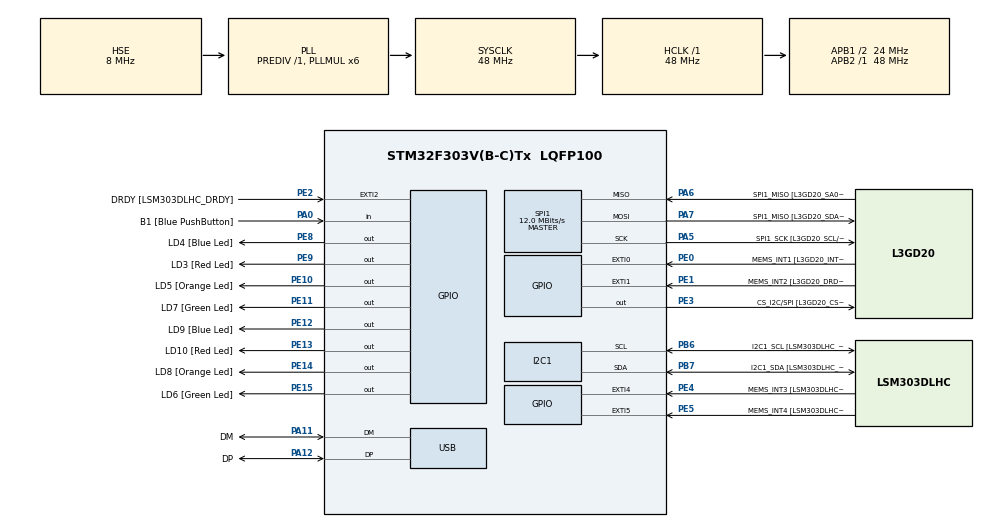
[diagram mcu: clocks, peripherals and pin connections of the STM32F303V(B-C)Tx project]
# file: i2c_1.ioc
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I2C1.Timing-I2C=0x2000090E
Mcu.Family=STM32F3
Mcu.Name=STM32F303V(B-C)Tx
Mcu.Package=LQFP100
NVIC.PriorityGroup=NVIC_PRIORITYGROUP_0
NVIC.TIM3_IRQn=true\:0\:0\:false\:false\:true\:true\:true
NVIC.USB_LP_CAN_RX0_IRQn=true\:0\:0\:false\:false\:true\:false\:true
PA0.GPIO_Label=B1 [Blue PushButton]
PA0.Signal=GPIO_Input
PA11.GPIO_Label=DM
PA11.Mode=Device
PA11.Signal=USB_DM
PA12.GPIO_Label=DP
PA12.Mode=Device
PA12.Signal=USB_DP
PA13.GPIO_Label=SWDIO
PA13.Mode=Serial_Wire
PA13.Signal=SYS_JTMS-SWDIO
PA14.GPIO_Label=SWCLK
PA14.Mode=Serial_Wire
PA14.Signal=SYS_JTCK-SWCLK
PA5.GPIO_Label=SPI1_SCK [L3GD20_SCL/SPC]
PA5.Mode=Full_Duplex_Master
PA5.Signal=SPI1_SCK
PA6.GPIO_Label=SPI1_MISO [L3GD20_SA0/SDO]
PA6.Mode=Full_Duplex_Master
PA6.Signal=SPI1_MISO
PA7.GPIO_Label=SPI1_MISO [L3GD20_SDA/SDI/SDO]
PA7.Mode=Full_Duplex_Master
PA7.Signal=SPI1_MOSI
PB3.GPIO_Label=SWO
PB3.Signal=SYS_JTDO-TRACESWO
PB6.GPIO_Label=I2C1_SCL [LSM303DLHC_SCL]
PB6.Mode=I2C
PB6.Signal=I2C1_SCL
PB7.GPIO_Label=I2C1_SDA [LSM303DLHC_SDA]
PB7.Mode=I2C
PB7.Signal=I2C1_SDA
PC14-OSC32_IN.GPIO_Label=OSC32_IN
PC14-OSC32_IN.Signal=RCC_OSC32_IN
PC15-OSC32_OUT.GPIO_Label=OSC32_OUT
PC15-OSC32_OUT.Signal=RCC_OSC32_OUT
PE0.GPIO_Label=MEMS_INT1 [L3GD20_INT1]
PE0.GPIO_ModeDefaultEXTI=GPIO_MODE_EVT_RISING
PE0.Signal=GPXTI0
PE1.GPIO_Label=MEMS_INT2 [L3GD20_DRDY/INT2]
PE1.GPIO_ModeDefaultEXTI=GPIO_MODE_EVT_RISING
PE1.Signal=GPXTI1
PE10.GPIO_Label=LD5 [Orange Led]
PE10.Signal=GPIO_Output
PE11.GPIO_Label=LD7 [Green Led]
PE11.Signal=GPIO_Output
PE12.GPIO_Label=LD9 [Blue Led]
PE12.Signal=GPIO_Output
PE13.GPIO_Label=LD10 [Red Led]
PE13.Signal=GPIO_Output
PE14.GPIO_Label=LD8 [Orange Led]
PE14.Signal=GPIO_Output
PE15.GPIO_Label=LD6 [Green Led]
PE15.Signal=GPIO_Output
PE2.GPIO_Label=DRDY [LSM303DLHC_DRDY]
PE2.GPIO_ModeDefaultEXTI=GPIO_MODE_EVT_RISING
PE2.Signal=GPXTI2
PE3.GPIO_Label=CS_I2C/SPI [L3GD20_CS_I2C/SPI]
PE3.Signal=GPIO_Output
PE4.GPIO_Label=MEMS_INT3 [LSM303DLHC_INT1]
PE4.GPIO_ModeDefaultEXTI=GPIO_MODE_EVT_RISING
PE4.Signal=GPXTI4
PE5.GPIO_Label=MEMS_INT4 [LSM303DLHC_INT2]
PE5.GPIO_ModeDefaultEXTI=GPIO_MODE_EVT_RISING
PE5.Signal=GPXTI5
PE8.GPIO_Label=LD4 [Blue Led]
PE8.Signal=GPIO_Output
PE9.GPIO_Label=LD3 [Red Led]
PE9.Signal=GPIO_Output
PF0-OSC_IN.GPIO_Label=OSC_IN
PF0-OSC_IN.Mode=HSE-External-Clock-Source
PF0-OSC_IN.Signal=RCC_OSC_IN
PF1-OSC_OUT.GPIO_Label=OSC_OUT
PF1-OSC_OUT.Signal=RCC_OSC_OUT
ProjectManager.HeapSize=0x200
ProjectManager.StackSize=0x400
ProjectManager.TargetToolchain=STM32CubeIDE
RCC.AHBFreq_Value=48000000
RCC.APB1CLKDivider=RCC_HCLK_DIV2
RCC.APB1Freq_Value=24000000
RCC.APB1TimFreq_Value=48000000
RCC.APB2Freq_Value=48000000
RCC.APB2TimFreq_Value=48000000
RCC.CortexFreq_Value=48000000
RCC.HCLKFreq_Value=48000000
RCC.HSE_VALUE=8000000
RCC.HSI_VALUE=8000000
RCC.LSE_VALUE=32768
RCC.PLLMUL=RCC_PLL_MUL6
RCC.SYSCLKFreq_VALUE=48000000
RCC.SYSCLKSourceVirtual=RCC_SYSCLKSOURCE_PLLCLK
RCC.USBFreq_Value=48000000
SPI1.BaudRatePrescaler=SPI_BAUDRATEPRESCALER_4
SPI1.BaudRatePrescaler-Full_Duplex_Master=SPI_BAUDRATEPRESCALER_2
SPI1.CalculateBaudRate=12.0 MBits/s
SPI1.CalculateBaudRate-Full_Duplex_Master=24.0 MBits/s
SPI1.Direction=SPI_DIRECTION_2LINES
SPI1.Mode=SPI_MODE_MASTER
SPI1.Mode-Full_Duplex_Master=SPI_MODE_MASTER
SPI1.VirtualType=VM_MASTER
TIM3.Period=999
TIM3.Prescaler=47999
USB_DEVICE.CLASS_NAME_FS=CDC
USB_DEVICE.PRODUCT_STRING_CDC_FS=myIMU
USB_DEVICE.VirtualMode=Cdc
USB_DEVICE.VirtualModeFS=Cdc_FS
VP_TIM3_VS_ClockSourceINT.Mode=Internal
VP_USB_DEVICE_VS_USB_DEVICE_CDC_FS.Mode=CDC_FS
board=STM32F3DISCOVERY

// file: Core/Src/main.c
/* USER CODE BEGIN Header */
/**
  ******************************************************************************
  * @file           : main.c
  * @brief          : Main program body
  ******************************************************************************
  * @attention
  *
  * <h2><center>&copy; Copyright (c) 2020 STMicroelectronics.
  * All rights reserved.</center></h2>
  *
  * This software component is licensed by ST under BSD 3-Clause license,
  * the "License"; You may not use this file except in compliance with the
  * License. You may obtain a copy of the License at:
  *                        opensource.org/licenses/BSD-3-Clause
  *
  ******************************************************************************
  */
/* USER CODE END Header */
#include "main.h"
#include "usb_device.h"

/* USER CODE BEGIN Includes */

#include "usbd_cdc_if.h"

/* USER CODE END Includes */

I2C_HandleTypeDef hi2c1;

SPI_HandleTypeDef hspi1;

TIM_HandleTypeDef htim3;

void SystemClock_Config(void);
static void MX_GPIO_Init(void);
static void MX_I2C1_Init(void);
static void MX_SPI1_Init(void);
static void MX_TIM3_Init(void);
/* USER CODE BEGIN PFP */
void HAL_TIM_PeriodElapsedCallback(TIM_HandleTypeDef *htim);
uint8_t i2c1_pisiRegister(uint8_t, uint8_t, uint8_t);
void i2c1_beriRegistre(uint8_t, uint8_t, uint8_t*, uint8_t);
void initLSM303DLHC(void);

/* USER CODE END PFP */

/* USER CODE BEGIN 0 */
char resBuff[4] = {"ABAA"};
int8_t dir = -1;

void HAL_TIM_PeriodElapsedCallback(TIM_HandleTypeDef *htim) {

  // preveri ali je prekinitev klicana iz casovnika 3
  if (htim->Instance == TIM3) {
	  if (dir > -1) {
		  mapDirectionToChar();
		  CDC_Transmit_FS(resBuff, 4);
	  }
  }

}
/*** Using magnetometer calibration algorithm ***/

uint8_t i2c1_pisiRegister(uint8_t naprava, uint8_t reg, uint8_t podatek)
{
  naprava <<= 1;
  return HAL_I2C_Mem_Write(&hi2c1, naprava, reg, I2C_MEMADD_SIZE_8BIT, &podatek, 1, 10);
}

void i2c1_beriRegistre(uint8_t naprava, uint8_t reg, uint8_t* podatek, uint8_t dolzina)
{
  if ((dolzina>1)&&(naprava==0x19))  // ce je naprava 0x19 moramo postaviti ta bit, ce zelimo brati vec zlogov
    reg |= 0x80;
  naprava <<= 1;
  HAL_I2C_Mem_Read(&hi2c1, naprava, reg, I2C_MEMADD_SIZE_8BIT, podatek, dolzina, dolzina);
}

void initLSM303DLHC()
{
  HAL_Delay(10);

  // Za potrebe testa, moramo testni napravi sporociti kateri senzor imamo
  #define OLD_SENSOR 0x73 // Odkomentiramo za LSM303DLHC / stari senzor
  //#define NEW_SENSOR 0x6E // Odkomentiramo za LSM303AGR / novi senzor

  #if defined(OLD_SENSOR) && !defined(NEW_SENSOR)
  i2c1_pisiRegister(0x1e, 0x4F, OLD_SENSOR); // Povemo testni napravi, da imamo stari senzor
  #elif !defined(OLD_SENSOR) && defined(NEW_SENSOR)
  i2c1_pisiRegister(0x1e, 0x4F, NEW_SENSOR); // Povemo testni napravi, da imamo novi senzor
  #else
  for(;;); // V primeru napake, pocakamo tukaj
  #endif
  HAL_Delay(100);

  // inicializiraj mag
  i2c1_pisiRegister(0x1E, 0x00, 0xC);  // 7.5hz
  i2c1_pisiRegister(0x1E, 0x01, 0x20);  // privzeto
  i2c1_pisiRegister(0x1E, 0x02, 0x00);

// inicializiraj pospeskometer
i2c1_pisiRegister(0x19, 0x20, 0x47);  // zbudi pospeskometer in omogoci osi IN nastavite odzivnost senzorja na 50Hz  Normal / low-power mode (50 Hz) 0 1 0 0
i2c1_pisiRegister(0x19, 0x23, 0x98);  // nastavi posodobitev samo ko se prebere vrednost ter visoko locljivost IN na +-4g (f1 f0 na 0 1)
}

void TurnOffPrevious(int PIN){
	switch (PIN)
	{
		case 8:
			HAL_GPIO_WritePin(GPIOE, GPIO_PIN_8, GPIO_PIN_RESET);
		case 9:
			HAL_GPIO_WritePin(GPIOE, GPIO_PIN_9, GPIO_PIN_RESET);
		case 10:
			HAL_GPIO_WritePin(GPIOE, GPIO_PIN_10, GPIO_PIN_RESET);
		case 11:
			HAL_GPIO_WritePin(GPIOE, GPIO_PIN_11, GPIO_PIN_RESET);
		case 12:
			HAL_GPIO_WritePin(GPIOE, GPIO_PIN_12, GPIO_PIN_RESET);
		case 13:
			HAL_GPIO_WritePin(GPIOE, GPIO_PIN_13, GPIO_PIN_RESET);
		case 14:
			HAL_GPIO_WritePin(GPIOE, GPIO_PIN_14, GPIO_PIN_RESET);
		case 15:
			HAL_GPIO_WritePin(GPIOE, GPIO_PIN_15, GPIO_PIN_RESET);
	}
}

void setResBuf(char one, char two) {
	resBuff[2] = one;
	resBuff[3] = two;
}

void mapDirectionToChar() {
	switch (dir) {
	case 0:
		setResBuf('0','S');
		break;
	case 1:
		setResBuf('S','V');
		break;
	case 2:
		setResBuf('0','V');
		break;
	case 3:
		setResBuf('J','V');
		break;
	case 4:
		setResBuf('0','J');
		break;
	case 5:
		setResBuf('J','Z');
		break;
	case 6:
		setResBuf('0','Z');
		break;
	case 7:
		setResBuf('S','Z');
		break;
	}
}

/* USER CODE END 0 */

int main(void)
{

  /* MCU Configuration--------------------------------------------------------*/

  /* Reset of all peripherals, Initializes the Flash interface and the Systick. */
  HAL_Init();

  /* Configure the system clock */
  SystemClock_Config();

  /* Initialize all configured peripherals */
  MX_GPIO_Init();
  MX_I2C1_Init();
  MX_SPI1_Init();
  MX_USB_DEVICE_Init();
  MX_TIM3_Init();
  /* USER CODE BEGIN 2 */

  __HAL_I2C_ENABLE(&hi2c1);

  int16_t meritev[5];
  meritev[0] = 0xaaab;// glava za zaznamek zacetek paketa
  int16_t buffer[3] = {0,0,0};

  initLSM303DLHC();

  char toReturn[250] = {0};
  int toggleCount = 0;
  int16_t packetCount = 0; // stevec klikov
  _Bool isToggled = 0;

  int prevLight = 0;

  int8_t btnCtrl = 0;
  int8_t debug = 0;
  HAL_TIM_Base_Start_IT(&htim3);

  int8_t xa [2] = {}, ya [2] = {}, za [2] = {};
  char packetNoBuffer[20] = {};
  char jsonBuffer [200] = {};
  char floatBuffer [20] = {};

  double value = 8000 / (pow(2,16) - 1);

  /* USER CODE END 2 */

  /* Infinite loop */
  /* USER CODE BEGIN WHILE */
  while (1)
  {

	  // Debug opcija ON/OFF
	  // ON (0): send 4B float
	  // OFF(1): send JSON string

	  if (HAL_GPIO_ReadPin(GPIOA, GPIO_PIN_0) && debug == 0) {
		  debug = 1;
	  }
	  else if (!HAL_GPIO_ReadPin(GPIOA, GPIO_PIN_0) && debug == 1) {
		  debug = 0;
	  }

	  HAL_Delay(100);

	  meritev[1] = packetCount;
	  // Convert to ASCII
	  // Beri l in h registre

	  uint8_t x1, x2, y1,y2, z1,z2;

	  // BERI MAGNETOMETER
	  // Preberi x y z vrednosti po 8 bitov , high low
	  // X
	  i2c1_beriRegistre(0x1E,  0x03,(uint8_t*)&x1, 1);
	  i2c1_beriRegistre(0x1E,  0x04,(uint8_t*)&x2, 1);
	  // Z
	  i2c1_beriRegistre(0x1E,  0x05,(uint8_t*)&z1, 1);
	  i2c1_beriRegistre(0x1E,  0x06,(uint8_t*)&z2, 1);
	  // Y
	  i2c1_beriRegistre(0x1E,  0x07,(uint8_t*)&y1, 1);
	  i2c1_beriRegistre(0x1E,  0x08,(uint8_t*)&y2, 1);

	  // BERI POSPEŠKOMETER
	  i2c1_beriRegistre(0x19, 0x28, (uint8_t*) &xa[0], 4);
	  i2c1_beriRegistre(0x19, 0x29, (uint8_t*) &xa[1], 8);
		buffer[0] = *((int16_t*) xa);

		i2c1_beriRegistre(0x19, 0x2a, (uint8_t*) &ya[0], 4);
		i2c1_beriRegistre(0x19, 0x2b, (uint8_t*) &ya[1], 8);
		buffer[1] = *((int16_t*) ya);

		i2c1_beriRegistre(0x19, 0x2c, (uint8_t*) &za[0], 4);
		i2c1_beriRegistre(0x19, 0x2d, (uint8_t*) &za[1], 8);
		buffer[2] = *((int16_t*) za);

		float ro = asin((buffer[0] * value) / 1000 * -1);   // enacba 10
		float gama = asin(((buffer[1] * value) / 1000)/cos(ro));

	  uint16_t x,y,z;
	  // sestavi 16bitni int

	  meritev[2] = ((x1 << 8) | (x2 & 0xff));
	  meritev[3] = ((y1 << 8) | (y2 & 0xff));
	  meritev[4] = ((z1 << 8) | (z2 & 0xff));

	  float xv, yv, zv;

	  xv = (float)meritev[2] / 1100.0f;
	  yv = (float)meritev[3] / 1100.0f;
	  zv = (float)meritev[4] / 980.0f;

	  xv=(xv+0.076575923160515f)/0.425442085836195f;
	  yv=(yv+0.0278623169268702f)/0.45627238404055f;
	  zv=(zv+0.00343904513673798f)/0.447764326965475f;

	  // GENERATE BEARING
	  float Pi = 3.14159;

	  // Calculate the angle of the vector y,x -> also GAUS to microteslas

	  float mX2 = xv*cos(ro)+zv*sin(ro);
	  float mY2 = xv*sin(gama)*sin(ro)+yv*cos(gama)-zv*sin(gama)*cos(ro);

	  /*
	  float ro = asin(xv * -1);
	  float gama = asin(yv/cos(ro));

	  xv = kX*cos(ro)+kZ*sin(ro);
	  mY2=kX*sin(gama)*sin(ro)+kY*cos(gama)-kZ*sin(gama)*cos(ro);
		*/
	  float heading = (atan2((mY2/100.0f), (mX2/100.0f)) * 180) / Pi;

	  // Normalize to 0-360
	  if (heading < 0) {
		heading = 360 + heading;
	  }

	  /*
      i2c1_beriRegistre(0x19, 0x28,(uint16_t*)&meritev[2], 2);
      // Y
      i2c1_beriRegistre(0x19, 0x2A,(uint16_t*)&meritev[3], 2);
      // Z
      i2c1_beriRegistre(0x19, 0x2C,(uint16_t*)&meritev[4], 2);

      // https://ozzmaker.com/accelerometer-to-g/
      float range = 0.122f;
	  // Convert to ASCII

	  float xAcc, yAcc, zAcc;
	  xAcc = (float)(meritev[2] * range) / 1000.0f;
	  xAcc = (float)(meritev[3]* range) / 1000.0f;
	  zAcc = (float)(meritev[4]* range) / 1000.0f;
	*/

	  // S
	  if(heading <= 22.5f || heading >= 337.5f)
      {
		  if(prevLight == 0)
		  {
			  prevLight = 13;
		  }

		  else
		  {
			  TurnOffPrevious(prevLight);
			  HAL_GPIO_WritePin(GPIOE, GPIO_PIN_13, GPIO_PIN_SET);
			  prevLight = 13;
		  }

		  dir = 0;
      }
	  // SV
	  if(heading <= 67.5f && heading >= 22.5f)
      {
		  if(prevLight == 0)
		  {
			  prevLight = 14;
		  }

		  else
		  {
			  TurnOffPrevious(prevLight);
			  HAL_GPIO_WritePin(GPIOE, GPIO_PIN_14, GPIO_PIN_SET);
			  prevLight = 14;
		  }

		  dir = 1;
      }

	  // V
	  if(heading >= 67.5f && heading <= 112.5f)
      {
		  if(prevLight == 0)
		  {
			  prevLight = 15;
		  }

		  else
		  {
			  TurnOffPrevious(prevLight);
			  HAL_GPIO_WritePin(GPIOE, GPIO_PIN_15, GPIO_PIN_SET);
			  prevLight = 15;
		  }

		  dir = 2;
      }

	  // JV
	  if(heading >= 112.5f && heading <= 157.5f)
      {
		  if(prevLight == 0)
		  {
			  prevLight = 8;
		  }

		  else
		  {
			  TurnOffPrevious(prevLight);
			  HAL_GPIO_WritePin(GPIOE, GPIO_PIN_8, GPIO_PIN_SET);
			  prevLight = 8;
		  }

		  dir = 3;
      }

	  // J
	  if(heading >= 157.5f && heading <= 202.5f)
      {
		  if(prevLight == 0)
		  {
			  prevLight = 9;
		  }

		  else
		  {
			  TurnOffPrevious(prevLight);
			  HAL_GPIO_WritePin(GPIOE, GPIO_PIN_9, GPIO_PIN_SET);
			  prevLight = 9;
		  }

		  dir = 4;
      }

	  // JZ
	  if(heading >= 202.5f && heading <= 247.5f)
      {
		  if(prevLight == 0)
		  {
			  prevLight = 10;
		  }

		  else
		  {
			  TurnOffPrevious(prevLight);
			  HAL_GPIO_WritePin(GPIOE, GPIO_PIN_10, GPIO_PIN_SET);
			  prevLight = 10;
		  }

		  dir = 5;
      }

	  // Z
	  if(heading >= 247.5f && heading <= 292.5f)
      {
		  if(prevLight == 0)
		  {
			  prevLight = 11;
		  }

		  else
		  {
			  TurnOffPrevious(prevLight);
			  HAL_GPIO_WritePin(GPIOE, GPIO_PIN_11, GPIO_PIN_SET);
			  prevLight = 11;
		  }

		  dir = 6;
      }

	  // SZ
	  if(heading >= 292.5f && heading <= 337.5f)
      {
		  if(prevLight == 0)
		  {
			  prevLight = 12;
		  }

		  else
		  {
			  TurnOffPrevious(prevLight);
			  HAL_GPIO_WritePin(GPIOE, GPIO_PIN_12, GPIO_PIN_SET);
			  prevLight = 12;
		  }

		  dir = 7;
      }

		packetCount++;

		// DEBUG MODE
		if (debug == 1) {
			/*
			int strlen = snprintf(NULL, 0, "{Compass Heading: %.3f}\n\r", (float) heading) + 1;
			char *stringToSend = malloc(strlen);
			snprintf(stringToSend, strlen, "{Compass Heading: %.3f}\n\r", (float) heading);
			memset(toReturn, 0, sizeof(toReturn));
			CDC_Transmit_FS(stringToSend, strlen);
			*/
			strcat(jsonBuffer, "{\"ACC\":");
			snprintf(packetNoBuffer, sizeof packetCount, "%d", packetCount++);
			strcat(jsonBuffer, packetNoBuffer);
			strcat(jsonBuffer, ", \"X\":");
			snprintf(floatBuffer, sizeof floatBuffer, "%.3f",
					((float) buffer[0] * value) / 1000);
			strcat(jsonBuffer, floatBuffer);
			floatBuffer[0] = '\0';
			strcat(jsonBuffer, ", \"Y\":");
			snprintf(floatBuffer, sizeof floatBuffer, "%.3f",
					((float) buffer[1] * value) / 1000);
			strcat(jsonBuffer, floatBuffer);
			floatBuffer[0] = '\0';
			strcat(jsonBuffer, ", \"Z\":");
			snprintf(floatBuffer, sizeof floatBuffer, "%.3f",
					((float) buffer[2] * value) / 1000);
			strcat(jsonBuffer, floatBuffer);
			strcat(jsonBuffer, "}\n\r");
			CDC_Transmit_FS((uint8_t*) &jsonBuffer, strlen(jsonBuffer));
			packetNoBuffer[0] = '\0';
			jsonBuffer[0] = '\0';
			floatBuffer[0] = '\0';
		}

    /* USER CODE END WHILE */

  }
}

void SystemClock_Config(void)
{
  RCC_OscInitTypeDef RCC_OscInitStruct = {0};
  RCC_ClkInitTypeDef RCC_ClkInitStruct = {0};
  RCC_PeriphCLKInitTypeDef PeriphClkInit = {0};

  /** Initializes the RCC Oscillators according to the specified parameters
  * in the RCC_OscInitTypeDef structure.
  */
  RCC_OscInitStruct.OscillatorType = RCC_OSCILLATORTYPE_HSI|RCC_OSCILLATORTYPE_HSE;
  RCC_OscInitStruct.HSEState = RCC_HSE_BYPASS;
  RCC_OscInitStruct.HSEPredivValue = RCC_HSE_PREDIV_DIV1;
  RCC_OscInitStruct.HSIState = RCC_HSI_ON;
  RCC_OscInitStruct.HSICalibrationValue = RCC_HSICALIBRATION_DEFAULT;
  RCC_OscInitStruct.PLL.PLLState = RCC_PLL_ON;
  RCC_OscInitStruct.PLL.PLLSource = RCC_PLLSOURCE_HSE;
  RCC_OscInitStruct.PLL.PLLMUL = RCC_PLL_MUL6;
  if (HAL_RCC_OscConfig(&RCC_OscInitStruct) != HAL_OK)
  {
    Error_Handler();
  }
  /** Initializes the CPU, AHB and APB buses clocks
  */
  RCC_ClkInitStruct.ClockType = RCC_CLOCKTYPE_HCLK|RCC_CLOCKTYPE_SYSCLK
                              |RCC_CLOCKTYPE_PCLK1|RCC_CLOCKTYPE_PCLK2;
  RCC_ClkInitStruct.SYSCLKSource = RCC_SYSCLKSOURCE_PLLCLK;
  RCC_ClkInitStruct.AHBCLKDivider = RCC_SYSCLK_DIV1;
  RCC_ClkInitStruct.APB1CLKDivider = RCC_HCLK_DIV2;
  RCC_ClkInitStruct.APB2CLKDivider = RCC_HCLK_DIV1;

  if (HAL_RCC_ClockConfig(&RCC_ClkInitStruct, FLASH_LATENCY_1) != HAL_OK)
  {
    Error_Handler();
  }
  PeriphClkInit.PeriphClockSelection = RCC_PERIPHCLK_USB|RCC_PERIPHCLK_I2C1;
  PeriphClkInit.I2c1ClockSelection = RCC_I2C1CLKSOURCE_HSI;
  PeriphClkInit.USBClockSelection = RCC_USBCLKSOURCE_PLL;
  if (HAL_RCCEx_PeriphCLKConfig(&PeriphClkInit) != HAL_OK)
  {
    Error_Handler();
  }
}

static void MX_I2C1_Init(void)
{

  hi2c1.Instance = I2C1;
  hi2c1.Init.Timing = 0x2000090E;
  hi2c1.Init.OwnAddress1 = 0;
  hi2c1.Init.AddressingMode = I2C_ADDRESSINGMODE_7BIT;
  hi2c1.Init.DualAddressMode = I2C_DUALADDRESS_DISABLE;
  hi2c1.Init.OwnAddress2 = 0;
  hi2c1.Init.OwnAddress2Masks = I2C_OA2_NOMASK;
  hi2c1.Init.GeneralCallMode = I2C_GENERALCALL_DISABLE;
  hi2c1.Init.NoStretchMode = I2C_NOSTRETCH_DISABLE;
  if (HAL_I2C_Init(&hi2c1) != HAL_OK)
  {
    Error_Handler();
  }
  /** Configure Analogue filter
  */
  if (HAL_I2CEx_ConfigAnalogFilter(&hi2c1, I2C_ANALOGFILTER_ENABLE) != HAL_OK)
  {
    Error_Handler();
  }
  /** Configure Digital filter
  */
  if (HAL_I2CEx_ConfigDigitalFilter(&hi2c1, 0) != HAL_OK)
  {
    Error_Handler();
  }

}

static void MX_SPI1_Init(void)
{

  /* SPI1 parameter configuration*/
  hspi1.Instance = SPI1;
  hspi1.Init.Mode = SPI_MODE_MASTER;
  hspi1.Init.Direction = SPI_DIRECTION_2LINES;
  hspi1.Init.DataSize = SPI_DATASIZE_4BIT;
  hspi1.Init.CLKPolarity = SPI_POLARITY_LOW;
  hspi1.Init.CLKPhase = SPI_PHASE_1EDGE;
  hspi1.Init.NSS = SPI_NSS_SOFT;
  hspi1.Init.BaudRatePrescaler = SPI_BAUDRATEPRESCALER_4;
  hspi1.Init.FirstBit = SPI_FIRSTBIT_MSB;
  hspi1.Init.TIMode = SPI_TIMODE_DISABLE;
  hspi1.Init.CRCCalculation = SPI_CRCCALCULATION_DISABLE;
  hspi1.Init.CRCPolynomial = 7;
  hspi1.Init.CRCLength = SPI_CRC_LENGTH_DATASIZE;
  hspi1.Init.NSSPMode = SPI_NSS_PULSE_ENABLE;
  if (HAL_SPI_Init(&hspi1) != HAL_OK)
  {
    Error_Handler();
  }

}

static void MX_TIM3_Init(void)
{

  TIM_ClockConfigTypeDef sClockSourceConfig = {0};
  TIM_MasterConfigTypeDef sMasterConfig = {0};

  htim3.Instance = TIM3;
  htim3.Init.Prescaler = 47999;
  htim3.Init.CounterMode = TIM_COUNTERMODE_UP;
  htim3.Init.Period = 999;
  htim3.Init.ClockDivision = TIM_CLOCKDIVISION_DIV1;
  htim3.Init.AutoReloadPreload = TIM_AUTORELOAD_PRELOAD_DISABLE;
  if (HAL_TIM_Base_Init(&htim3) != HAL_OK)
  {
    Error_Handler();
  }
  sClockSourceConfig.ClockSource = TIM_CLOCKSOURCE_INTERNAL;
  if (HAL_TIM_ConfigClockSource(&htim3, &sClockSourceConfig) != HAL_OK)
  {
    Error_Handler();
  }
  sMasterConfig.MasterOutputTrigger = TIM_TRGO_RESET;
  sMasterConfig.MasterSlaveMode = TIM_MASTERSLAVEMODE_DISABLE;
  if (HAL_TIMEx_MasterConfigSynchronization(&htim3, &sMasterConfig) != HAL_OK)
  {
    Error_Handler();
  }

}

static void MX_GPIO_Init(void)
{
  GPIO_InitTypeDef GPIO_InitStruct = {0};

  /* GPIO Ports Clock Enable */
  __HAL_RCC_GPIOE_CLK_ENABLE();
  __HAL_RCC_GPIOC_CLK_ENABLE();
  __HAL_RCC_GPIOF_CLK_ENABLE();
  __HAL_RCC_GPIOA_CLK_ENABLE();
  __HAL_RCC_GPIOB_CLK_ENABLE();

  /*Configure GPIO pin Output Level */
  HAL_GPIO_WritePin(GPIOE, CS_I2C_SPI_Pin|LD4_Pin|LD3_Pin|LD5_Pin
                          |LD7_Pin|LD9_Pin|LD10_Pin|LD8_Pin
                          |LD6_Pin, GPIO_PIN_RESET);

  /*Configure GPIO pins : DRDY_Pin MEMS_INT3_Pin MEMS_INT4_Pin MEMS_INT1_Pin
                           MEMS_INT2_Pin */
  GPIO_InitStruct.Pin = DRDY_Pin|MEMS_INT3_Pin|MEMS_INT4_Pin|MEMS_INT1_Pin
                          |MEMS_INT2_Pin;
  GPIO_InitStruct.Mode = GPIO_MODE_EVT_RISING;
  GPIO_InitStruct.Pull = GPIO_NOPULL;
  HAL_GPIO_Init(GPIOE, &GPIO_InitStruct);

  /*Configure GPIO pins : CS_I2C_SPI_Pin LD4_Pin LD3_Pin LD5_Pin
                           LD7_Pin LD9_Pin LD10_Pin LD8_Pin
                           LD6_Pin */
  GPIO_InitStruct.Pin = CS_I2C_SPI_Pin|LD4_Pin|LD3_Pin|LD5_Pin
                          |LD7_Pin|LD9_Pin|LD10_Pin|LD8_Pin
                          |LD6_Pin;
  GPIO_InitStruct.Mode = GPIO_MODE_OUTPUT_PP;
  GPIO_InitStruct.Pull = GPIO_NOPULL;
  GPIO_InitStruct.Speed = GPIO_SPEED_FREQ_LOW;
  HAL_GPIO_Init(GPIOE, &GPIO_InitStruct);

  /*Configure GPIO pin : B1_Pin */
  GPIO_InitStruct.Pin = B1_Pin;
  GPIO_InitStruct.Mode = GPIO_MODE_INPUT;
  GPIO_InitStruct.Pull = GPIO_NOPULL;
  HAL_GPIO_Init(B1_GPIO_Port, &GPIO_InitStruct);

}

void Error_Handler(void)
{
  __disable_irq();
  while (1)
  {
  }
}

/************************ (C) COPYRIGHT STMicroelectronics *****END OF FILE****/
